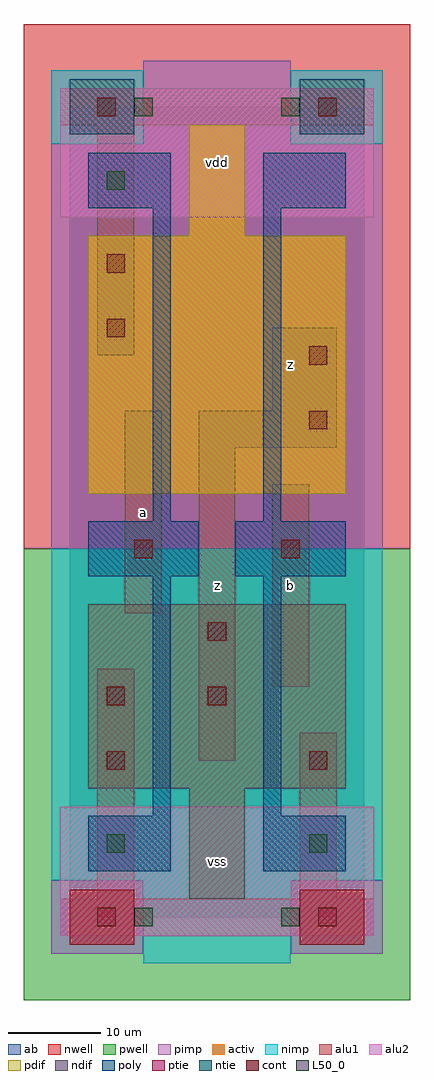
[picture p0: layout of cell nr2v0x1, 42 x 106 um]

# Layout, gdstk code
import gdstk
lib = gdstk.Library(unit=1e-6, precision=1e-09)
def R(c, l, rs):  # rectangles x0, y0, x1, y1
    for r in rs: c.add(gdstk.rectangle(r[:2], r[2:], *l))
ndif = (3, 0)
pdif = (4, 0)
ntie = (5, 0)
ptie = (6, 0)
cont = (25, 0)
pwell = (41, 0)
nwell = (42, 0)
activ = (43, 0)
pimp = (44, 0)
nimp = (45, 0)
poly = (46, 0)
alu1 = (49, 0)
L50_0 = (50, 0)
alu2 = (51, 0)
ab = (63, 0)

nr2v0x1 = lib.new_cell('nr2v0x1')
R(nr2v0x1, ndif, [(13,2,19,14), (2,14,30,34)])
R(nr2v0x1, pdif, [(2,46,30,74), (13,74,19,86)])
R(nr2v0x1, ntie, [(0,85,7,91), (25,85,32,91)])
R(nr2v0x1, ptie, [(0,-3,7,3), (25,-3,32,3)])
R(nr2v0x1, cont, [(3,-1,5,1), (27,-1,29,1), (4,16,6,18), (26,16,28,18), (4,23,6,25), (15,23,17,25), (15,30,17,32), (7,39,9,41), (23,39,25,41), (26,53,28,55), (26,60,28,62), (4,63,6,65), (4,70,6,72), (3,87,5,89), (27,87,29,89)])
R(nr2v0x1, pwell, [(-5,-9,37,40)])
R(nr2v0x1, nwell, [(-5,40,37,97)])
R(nr2v0x1, activ, [(0,-3,7,3), (25,-3,32,3), (13,2,19,14), (2,14,30,34), (2,46,30,74), (13,74,19,86), (0,85,7,91), (25,85,32,91)])
R(nr2v0x1, pimp, [(-2,-4,8,4), (24,-4,34,4), (-2,40,34,84), (8,84,24,93)])
R(nr2v0x1, nimp, [(8,-5,24,4), (-2,4,34,40), (-2,84,8,92), (24,84,34,92)])
R(nr2v0x1, poly, [(2,5,11,11), (21,5,30,11), (9,11,11,37), (21,11,23,37), (2,37,14,43), (18,37,30,43), (9,43,11,77), (21,43,23,77), (2,77,11,83), (21,77,30,83)])
R(nr2v0x1, alu1, [(-1,-2,33,2), (3,2,7,27), (25,2,29,20), (14,17,18,51), (22,25,26,47), (6,33,10,55), (14,51,29,55), (22,55,29,64), (3,61,7,86), (-1,86,33,90)])
R(nr2v0x1, L50_0, [(7,-1,9,1), (23,-1,25,1), (4,7,6,9), (26,7,28,9), (4,79,6,81), (7,87,9,89), (23,87,25,89)])
R(nr2v0x1, alu2, [(-1,-2,33,12), (-1,76,33,90)])
R(nr2v0x1, ab, [(0,0,32,88)])
nr2v0x1.add(gdstk.Label('a', (8,44), layer=49, texttype=0))
nr2v0x1.add(gdstk.Label('z', (16,36), layer=49, texttype=0))
nr2v0x1.add(gdstk.Label('b', (24,36), layer=49, texttype=0))
nr2v0x1.add(gdstk.Label('z', (24,60), layer=49, texttype=0))
nr2v0x1.add(gdstk.Label('vss', (16,6), layer=51, texttype=0))
nr2v0x1.add(gdstk.Label('vdd', (16,82), layer=51, texttype=0))

lib.write_gds('nr2v0x1.gds')
